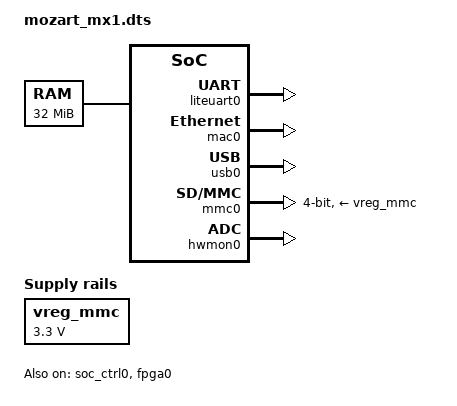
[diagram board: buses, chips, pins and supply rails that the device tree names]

/dts-v1/;

/ {
        #address-cells = <1>;
        #size-cells    = <1>;


        chosen {
            bootargs = "console=liteuart earlycon=liteuart,0xf0001000 rootwait root=/dev/ram0 ip=192.168.1.50:192.168.1.100:192.168.1.100:255.255.255.0::eth0:off:::";
            linux,initrd-start = <0x41000000>;
            linux,initrd-end   = <0x41800000>;
        };

        sys_clk: pll {
            compatible = "fixed-clock";
            #clock-cells = <0>;
            clock-frequency  = <80000000>;
        };

        cpus {
            #address-cells = <1>;
            #size-cells    = <0>;
            timebase-frequency = <80000000>;

            CPU0: cpu@0 {
                device_type = "cpu";
                compatible = "riscv";
                riscv,isa = "rv32i2p0_ma";
                mmu-type = "riscv,sv32";
                reg = <0>;
                clock-frequency = <80000000>;
                status = "okay";
                
                d-cache-size = <4096>;
                d-cache-sets = <1>;
                d-cache-block-size = <64>;

                i-cache-size = <4096>;
                i-cache-sets = <1>;
                i-cache-block-size = <64>;

                
                d-tlb-size = <4>;
                d-tlb-sets = <4>;

                i-tlb-size = <4>;
                i-tlb-sets = <4>;

                L0: interrupt-controller {
                    #address-cells = <0>;
                    #interrupt-cells = <0x00000001>;
                    interrupt-controller;
                    compatible = "riscv,cpu-intc";
                };
            };

            
        };

        memory@40000000 {
            device_type = "memory";
            reg = <0x40000000 0x2000000>;
        };

        reserved-memory {
            #address-cells = <1>;
            #size-cells    = <1>;
            ranges;

            opensbi@40f00000 {
                reg = <0x40f00000 0x80000>;
            };

            framebuffer@40c00000 {
                reg = <0x40c00000 0x96000>;
            };

        };

        vreg_mmc: vreg_mmc {
            compatible = "regulator-fixed";
            regulator-name = "vreg_mmc";
            regulator-min-microvolt = <3300000>;
            regulator-max-microvolt = <3300000>;
            regulator-always-on;
        };

        soc {
            #address-cells = <1>;
            #size-cells    = <1>;
            compatible = "simple-bus";
            interrupt-parent = <&intc0>;
            ranges;

            soc_ctrl0: soc_controller@f0000000 {
                compatible = "litex,soc-controller";
                reg = <0xf0000000 0xc>;
                status = "okay";
            };

            intc0: interrupt-controller@f0c00000 {
                compatible = "sifive,fu540-c000-plic", "sifive,plic-1.0.0";
                reg = <0xf0c00000 0x400000>;
                #address-cells = <0>;
                #interrupt-cells = <1>;
                interrupt-controller;
                interrupts-extended = <
                    &L0 11 &L0 9>;
                riscv,ndev = <32>;
            };

            liteuart0: serial@f0001000 {
                compatible = "litex,liteuart";
                reg = <0xf0001000 0x100>;
                interrupts = <1>;
                status = "okay";
            };

            mac0: mac@f0000800 {
                compatible = "litex,liteeth";
                reg = <0xf0000800 0x7c>,
                      <0xf0002000 0x0a>,
                      <0x80000000 0x2000>;
                reg-names = "mac", "mdio", "buffer";
                litex,rx-slots = <2>;
                litex,tx-slots = <2>;
                litex,slot-size = <2048>;
                interrupts = <3>;
                status = "okay";
            };

            usb0: mac@c0000000 {
                compatible = "generic-ohci";
                reg = <0xc0000000 0x1000>;
                interrupts = <16>;
                status = "okay";
            };

            mmc0: mmc@f0006000 {
                compatible = "litex,mmc";
                reg = <0xf0006000 0x100>,
                      <0xf0004800 0x100>,
                      <0xf0004000 0x100>,
                      <0xf0005800 0x100>,
                      <0xf0005000 0x100>;
                reg-names = "phy", "core", "reader", "writer", "irq";
                clocks = <&sys_clk>;
                vmmc-supply = <&vreg_mmc>;
                bus-width = <0x04>;
                interrupts = <4>;
                status = "okay";
            };

            hwmon0: xadc@f0009000 {
                compatible = "litex,hwmon-xadc";
                reg = <0xf0009000 0x20>;
                status = "okay";
            };

            framebuffer0: framebuffer@40c00000 {
                compatible = "simple-framebuffer";
                reg = <0x40c00000 0x96000>;
                width = <640>;
                height = <480>;
                stride = <1280>;
                format = "r5g6b5";
            };

            fpga0: icap@f0002800 {
                compatible = "litex,fpga-icap";
                reg = <0xf0002800 0x14>;
                status = "okay";
            };

            clk0: clk@f0003800 {
                compatible = "litex,clk";
                reg = <0xf0003800 0x100>;
                #clock-cells = <1>;
                #address-cells = <1>;
                #size-cells = <0>;
                clock-output-names =

                    "CLKOUT0",

                    "CLKOUT1";

                litex,lock-timeout = <10>;
                litex,drdy-timeout = <10>;
                litex,sys-clock-frequency = <80000000>;
                litex,divclk-divide-min = <1>;
                litex,divclk-divide-max = <107>;
                litex,clkfbout-mult-min = <2>;
                litex,clkfbout-mult-max = <65>;
                litex,vco-freq-min = <600000000>;
                litex,vco-freq-max = <1200000000>;
                litex,clkout-divide-min = <1>;
                litex,clkout-divide-max = <129>;
                litex,vco-margin = <0>;

                CLKOUT0: CLKOUT0 {
                    compatible = "litex,clk";
                    #clock-cells = <0>;
                    clock-output-names = "CLKOUT0";
                    reg = <0>;
                    litex,clock-frequency = <80000000>;
                    litex,clock-phase = <0>;
                    litex,clock-duty-num = <50>;
                    litex,clock-duty-den = <100>;
                    litex,clock-margin = <1>;
                    litex,clock-margin-exp = <2>;
                };

                CLKOUT1: CLKOUT1 {
                    compatible = "litex,clk";
                    #clock-cells = <0>;
                    clock-output-names = "CLKOUT1";
                    reg = <1>;
                    litex,clock-frequency = <80000000>;
                    litex,clock-phase = <0>;
                    litex,clock-duty-num = <50>;
                    litex,clock-duty-den = <100>;
                    litex,clock-margin = <1>;
                    litex,clock-margin-exp = <2>;
                };

            };
        };

        aliases {

                serial0 = &liteuart0;

        };

};
